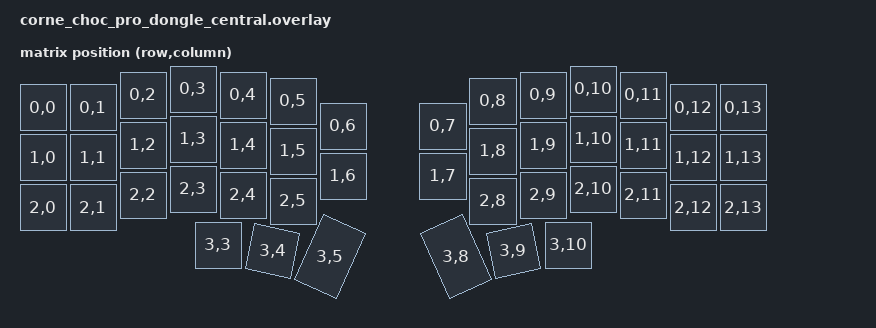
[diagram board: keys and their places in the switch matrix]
#include <physical_layouts.dtsi>
#include <dt-bindings/zmk/matrix_transform.h>

/ {
    chosen {
        zmk,kscan = &mock_kscan;
        zmk,physical-layout = &default_layout;
        zephyr,display = &oled;
    };

    mock_kscan: mock_kscan {
        compatible = "zmk,kscan-mock";
        rows = <0>;
        columns = <0>;
        events = <>;
    };

    default_transform: keymap_transform_0 {
        compatible = "zmk,matrix-transform";
        columns = <14>;
        rows = <4>;
        map = <
            RC(0,0) RC(0,1) RC(0,2) RC(0,3) RC(0,4) RC(0,5) RC(0,6) RC(0,7) RC(0,8) RC(0,9) RC(0,10) RC(0,11) RC(0,12) RC(0,13)
            RC(1,0) RC(1,1) RC(1,2) RC(1,3) RC(1,4) RC(1,5) RC(1,6) RC(1,7) RC(1,8) RC(1,9) RC(1,10) RC(1,11) RC(1,12) RC(1,13)
            RC(2,0) RC(2,1) RC(2,2) RC(2,3) RC(2,4) RC(2,5)                 RC(2,8) RC(2,9) RC(2,10) RC(2,11) RC(2,12) RC(2,13)
                                    RC(3,3) RC(3,4) RC(3,5)                 RC(3,8) RC(3,9) RC(3,10)
        >;
    };

    corne_choc_pro_position_map {
        compatible = "zmk,physical-layout-position-map";
        complete;

        default_map: six_col {
            physical-layout = <&default_layout>;
            positions
                = < 0  1  2  3  4  5  6  7  8  9 10 11 12 13>
                , <14 15 16 17 18 19 20 21 22 23 24 25 26 27>
                , <28 29 30 31 32 33       34 35 36 37 38 39>
                , <         40 41 42       43 44 45         >;
        };
    };

    default_layout: default_layout {
        compatible = "zmk,physical-layout";
        display-name = "Default Layout";
        transform = <&default_transform>;
        keys  //                     w   h    x    y     rot    rx    ry
            = <&key_physical_attrs 100 100    0   37       0     0     0>
            , <&key_physical_attrs 100 100  100   37       0     0     0>
            , <&key_physical_attrs 100 100  200   12       0     0     0>
            , <&key_physical_attrs 100 100  300    0       0     0     0>
            , <&key_physical_attrs 100 100  400   12       0     0     0>
            , <&key_physical_attrs 100 100  500   24       0     0     0>
            , <&key_physical_attrs 100 100  600   74       0     0     0>
            , <&key_physical_attrs 100 100  800   74       0     0     0>
            , <&key_physical_attrs 100 100  900   24       0     0     0>
            , <&key_physical_attrs 100 100 1000   12       0     0     0>
            , <&key_physical_attrs 100 100 1100    0       0     0     0>
            , <&key_physical_attrs 100 100 1200   12       0     0     0>
            , <&key_physical_attrs 100 100 1300   37       0     0     0>
            , <&key_physical_attrs 100 100 1400   37       0     0     0>
            , <&key_physical_attrs 100 100    0  137       0     0     0>
            , <&key_physical_attrs 100 100  100  137       0     0     0>
            , <&key_physical_attrs 100 100  200  112       0     0     0>
            , <&key_physical_attrs 100 100  300  100       0     0     0>
            , <&key_physical_attrs 100 100  400  112       0     0     0>
            , <&key_physical_attrs 100 100  500  124       0     0     0>
            , <&key_physical_attrs 100 100  600  174       0     0     0>
            , <&key_physical_attrs 100 100  800  174       0     0     0>
            , <&key_physical_attrs 100 100  900  124       0     0     0>
            , <&key_physical_attrs 100 100 1000  112       0     0     0>
            , <&key_physical_attrs 100 100 1100  100       0     0     0>
            , <&key_physical_attrs 100 100 1200  112       0     0     0>
            , <&key_physical_attrs 100 100 1300  137       0     0     0>
            , <&key_physical_attrs 100 100 1400  137       0     0     0>
            , <&key_physical_attrs 100 100    0  237       0     0     0>
            , <&key_physical_attrs 100 100  100  237       0     0     0>
            , <&key_physical_attrs 100 100  200  212       0     0     0>
            , <&key_physical_attrs 100 100  300  200       0     0     0>
            , <&key_physical_attrs 100 100  400  212       0     0     0>
            , <&key_physical_attrs 100 100  500  224       0     0     0>
            , <&key_physical_attrs 100 100  900  224       0     0     0>
            , <&key_physical_attrs 100 100 1000  212       0     0     0>
            , <&key_physical_attrs 100 100 1100  200       0     0     0>
            , <&key_physical_attrs 100 100 1200  212       0     0     0>
            , <&key_physical_attrs 100 100 1300  237       0     0     0>
            , <&key_physical_attrs 100 100 1400  237       0     0     0>
            , <&key_physical_attrs 100 100  350  312       0     0     0>
            , <&key_physical_attrs 100 100  450  312    1200   450   412>
            , <&key_physical_attrs 100 150  548  283    2400   548   433>
            , <&key_physical_attrs 100 150  852  283 (-2400)   952   433>
            , <&key_physical_attrs 100 100  950  312 (-1200)  1050   412>
            , <&key_physical_attrs 100 100 1050  312       0     0     0>
            ;
    };
};

&pinctrl {
    i2c0_default: i2c0_default {
        group1 {
            psels = <NRF_PSEL(TWIM_SDA, 0, 17)>,
                <NRF_PSEL(TWIM_SCL, 0, 20)>;
        };
    };

    i2c0_sleep: i2c0_sleep {
        group1 {
            psels = <NRF_PSEL(TWIM_SDA, 0, 17)>,
                <NRF_PSEL(TWIM_SCL, 0, 20)>;
            low-power-enable;
        };
    };
};

&i2c0 {
    status = "okay";
    compatible = "nordic,nrf-twi";
    pinctrl-0 = <&i2c0_default>;
    pinctrl-1 = <&i2c0_sleep>;
    oled: sh1106@3c {
        compatible = "sinowealth,sh1106";
        reg = <0x3c>;
        width = <128>;
        height = <64>;
        segment-offset = <2>;
        page-offset = <0>;
        display-offset = <0>;
        multiplex-ratio = <63>;
        segment-remap;
        com-invdir;
        inversion-on;
        prechargep = <0x22>;
    };
};
